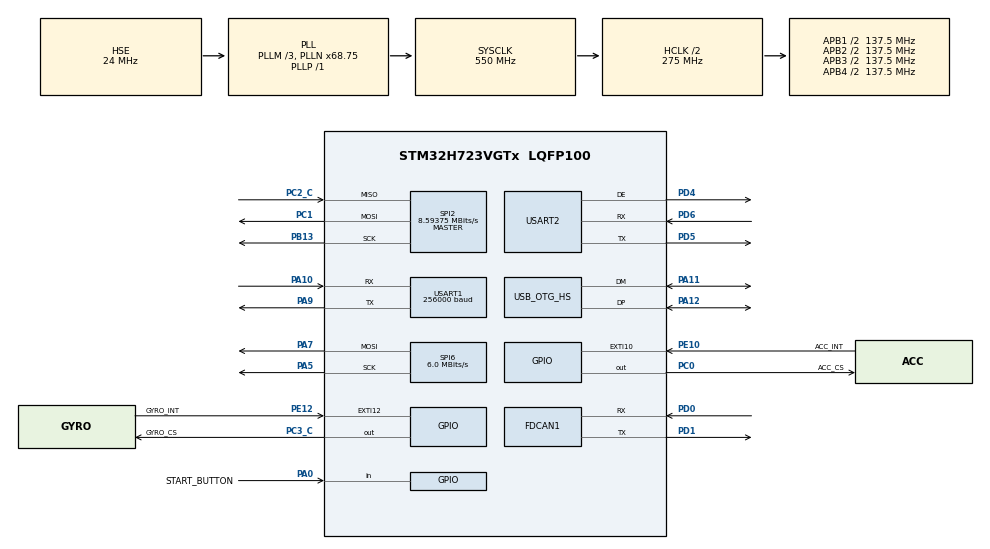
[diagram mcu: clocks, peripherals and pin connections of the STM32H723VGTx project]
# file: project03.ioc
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Dma.Request0=SPI2_RX
Dma.Request1=SPI2_TX
Dma.SPI2_RX.0.Direction=DMA_PERIPH_TO_MEMORY
Dma.SPI2_RX.0.EventEnable=DISABLE
Dma.SPI2_RX.0.FIFOMode=DMA_FIFOMODE_DISABLE
Dma.SPI2_RX.0.Instance=DMA1_Stream0
Dma.SPI2_RX.0.MemDataAlignment=DMA_MDATAALIGN_BYTE
Dma.SPI2_RX.0.MemInc=DMA_MINC_ENABLE
Dma.SPI2_RX.0.Mode=DMA_NORMAL
Dma.SPI2_RX.0.PeriphDataAlignment=DMA_PDATAALIGN_BYTE
Dma.SPI2_RX.0.PeriphInc=DMA_PINC_DISABLE
Dma.SPI2_RX.0.Polarity=HAL_DMAMUX_REQ_GEN_RISING
Dma.SPI2_RX.0.Priority=DMA_PRIORITY_VERY_HIGH
Dma.SPI2_RX.0.RequestNumber=1
Dma.SPI2_RX.0.SignalID=NONE
Dma.SPI2_RX.0.SyncEnable=DISABLE
Dma.SPI2_RX.0.SyncPolarity=HAL_DMAMUX_SYNC_NO_EVENT
Dma.SPI2_RX.0.SyncRequestNumber=1
Dma.SPI2_RX.0.SyncSignalID=NONE
Dma.SPI2_TX.1.Direction=DMA_MEMORY_TO_PERIPH
Dma.SPI2_TX.1.EventEnable=DISABLE
Dma.SPI2_TX.1.FIFOMode=DMA_FIFOMODE_DISABLE
Dma.SPI2_TX.1.Instance=DMA1_Stream1
Dma.SPI2_TX.1.MemDataAlignment=DMA_MDATAALIGN_BYTE
Dma.SPI2_TX.1.MemInc=DMA_MINC_ENABLE
Dma.SPI2_TX.1.Mode=DMA_NORMAL
Dma.SPI2_TX.1.PeriphDataAlignment=DMA_PDATAALIGN_BYTE
Dma.SPI2_TX.1.PeriphInc=DMA_PINC_DISABLE
Dma.SPI2_TX.1.Polarity=HAL_DMAMUX_REQ_GEN_RISING
Dma.SPI2_TX.1.Priority=DMA_PRIORITY_HIGH
Dma.SPI2_TX.1.RequestNumber=1
Dma.SPI2_TX.1.SignalID=NONE
Dma.SPI2_TX.1.SyncEnable=DISABLE
Dma.SPI2_TX.1.SyncPolarity=HAL_DMAMUX_SYNC_NO_EVENT
Dma.SPI2_TX.1.SyncRequestNumber=1
Dma.SPI2_TX.1.SyncSignalID=NONE
FDCAN1.CalculateBaudRateNominal=1000000
FDCAN1.CalculateTimeBitNominal=1000
FDCAN1.CalculateTimeQuantumNominal=40.0
FDCAN1.DataPrescaler=4
FDCAN1.DataSyncJumpWidth=8
FDCAN1.DataTimeSeg1=16
FDCAN1.DataTimeSeg2=8
FDCAN1.NominalPrescaler=4
FDCAN1.NominalSyncJumpWidth=8
FDCAN1.NominalTimeSeg1=16
FDCAN1.NominalTimeSeg2=8
FDCAN1.ProtocolException=ENABLE
FDCAN1.RxFifo0ElmtsNbr=32
FDCAN1.StdFiltersNbr=1
FDCAN1.TxFifoQueueElmtsNbr=32
FREERTOS.INCLUDE_vTaskDelayUntil=1
FREERTOS.Tasks01=defaultTask,0,128,StartDefaultTask,Default,NULL,Dynamic,NULL,NULL
FREERTOS.configTOTAL_HEAP_SIZE=30720
Mcu.Family=STM32H7
Mcu.Name=STM32H723VGTx
Mcu.Package=LQFP100
NVIC.DMA1_Stream0_IRQn=true\:5\:0\:true\:false\:true\:true\:false\:true\:true
NVIC.DMA1_Stream1_IRQn=true\:6\:0\:true\:false\:true\:true\:false\:true\:true
NVIC.FDCAN1_IT0_IRQn=true\:5\:0\:false\:false\:true\:true\:true\:true\:true
NVIC.FDCAN1_IT1_IRQn=true\:5\:0\:false\:false\:true\:true\:true\:true\:true
NVIC.OTG_HS_IRQn=true\:5\:0\:true\:false\:true\:true\:true\:true\:true
NVIC.PriorityGroup=NVIC_PRIORITYGROUP_4
NVIC.SPI2_IRQn=true\:5\:0\:true\:false\:true\:true\:false\:true\:true
NVIC.TIM17_IRQn=true\:15\:0\:false\:false\:true\:false\:false\:true\:true
NVIC.TimeBase=TIM17_IRQn
NVIC.TimeBaseIP=TIM17
NVIC.USART1_IRQn=true\:5\:0\:true\:false\:true\:true\:true\:true\:true
NVIC.USART2_IRQn=true\:5\:0\:false\:false\:true\:true\:true\:true\:true
PA0.GPIO_Label=START_BUTTON
PA0.GPIO_PuPd=GPIO_PULLUP
PA0.Signal=GPIO_Input
PA10.GPIO_Speed=GPIO_SPEED_FREQ_VERY_HIGH
PA10.Mode=Asynchronous
PA10.Signal=USART1_RX
PA11.Mode=Device_Only_FS
PA11.Signal=USB_OTG_HS_DM
PA12.Mode=Device_Only_FS
PA12.Signal=USB_OTG_HS_DP
PA13(JTMS/SWDIO).Mode=Serial_Wire
PA13(JTMS/SWDIO).Signal=DEBUG_JTMS-SWDIO
PA14(JTCK/SWCLK).Mode=Serial_Wire
PA14(JTCK/SWCLK).Signal=DEBUG_JTCK-SWCLK
PA5.GPIO_Speed=GPIO_SPEED_FREQ_VERY_HIGH
PA5.Mode=TX_Only_Simplex_Unidirect_Master
PA5.Signal=SPI6_SCK
PA7.GPIO_Speed=GPIO_SPEED_FREQ_VERY_HIGH
PA7.Mode=TX_Only_Simplex_Unidirect_Master
PA7.Signal=SPI6_MOSI
PA9.GPIO_Speed=GPIO_SPEED_FREQ_VERY_HIGH
PA9.Mode=Asynchronous
PA9.Signal=USART1_TX
PB13.GPIO_Speed=GPIO_SPEED_FREQ_VERY_HIGH
PB13.Mode=Full_Duplex_Master
PB13.Signal=SPI2_SCK
PC0.GPIO_Label=ACC_CS
PC0.GPIO_Speed=GPIO_SPEED_FREQ_VERY_HIGH
PC0.Signal=GPIO_Output
PC1.GPIO_Speed=GPIO_SPEED_FREQ_VERY_HIGH
PC1.Mode=Full_Duplex_Master
PC1.Signal=SPI2_MOSI
PC2_C.GPIO_Speed=GPIO_SPEED_FREQ_VERY_HIGH
PC2_C.Mode=Full_Duplex_Master
PC2_C.Signal=SPI2_MISO
PC3_C.GPIO_Label=GYRO_CS
PC3_C.GPIO_Speed=GPIO_SPEED_FREQ_VERY_HIGH
PC3_C.Signal=GPIO_Output
PD0.Mode=FDCAN_Activate
PD0.Signal=FDCAN1_RX
PD1.Mode=FDCAN_Activate
PD1.Signal=FDCAN1_TX
PD4.Mode=Hardware Flow Control (RS485)
PD4.Signal=USART2_DE
PD5.Mode=Asynchronous
PD5.Signal=USART2_TX
PD6.Mode=Asynchronous
PD6.Signal=USART2_RX
PE10.GPIO_Label=ACC_INT
PE10.Signal=GPXTI10
PE12.GPIO_Label=GYRO_INT
PE12.Signal=GPXTI12
PH0-OSC_IN.Mode=HSE-External-Oscillator
PH0-OSC_IN.Signal=RCC_OSC_IN
PH1-OSC_OUT.Mode=HSE-External-Oscillator
PH1-OSC_OUT.Signal=RCC_OSC_OUT
ProjectManager.HeapSize=0x3000
ProjectManager.StackSize=0x1000
ProjectManager.TargetToolchain=MDK-ARM V5.32
RCC.ADCFreq_Value=100000000
RCC.APB1Freq_Value=137500000
RCC.APB2Freq_Value=137500000
RCC.APB3Freq_Value=137500000
RCC.APB4Freq_Value=137500000
RCC.CortexFreq_Value=550000000
RCC.D1PPRE=RCC_APB3_DIV2
RCC.D2PPRE1=RCC_APB1_DIV2
RCC.D2PPRE2=RCC_APB2_DIV2
RCC.D3PPRE=RCC_APB4_DIV2
RCC.DIVM1=3
RCC.DIVM2=6
RCC.DIVN1=68
RCC.DIVN2=50
RCC.DIVP1=1
RCC.DIVQ1=4
RCC.FDCANCLockSelection=RCC_FDCANCLKSOURCE_PLL2
RCC.HCLKFreq_Value=275000000
RCC.HPRE=RCC_HCLK_DIV2
RCC.HSE_VALUE=24000000
RCC.PLL2FRACN=0
RCC.PLL3FRACN=0
RCC.PLLFRACN=6144
RCC.PLLSourceVirtual=RCC_PLLSOURCE_HSE
RCC.SPI6CLockSelection=RCC_SPI6CLKSOURCE_HSE
RCC.SYSCLKFreq_VALUE=550000000
RCC.SYSCLKSource=RCC_SYSCLKSOURCE_PLLCLK
RCC.USBCLockSelection=RCC_USBCLKSOURCE_HSI48
RCC.USBFreq_Value=48000000
SPI2.BaudRatePrescaler=SPI_BAUDRATEPRESCALER_16
SPI2.CLKPhase=SPI_PHASE_2EDGE
SPI2.CLKPolarity=SPI_POLARITY_HIGH
SPI2.CalculateBaudRate=8.59375 MBits/s
SPI2.DataSize=SPI_DATASIZE_8BIT
SPI2.Direction=SPI_DIRECTION_2LINES
SPI2.Mode=SPI_MODE_MASTER
SPI2.VirtualType=VM_MASTER
SPI6.BaudRatePrescaler=SPI_BAUDRATEPRESCALER_4
SPI6.CLKPhase=SPI_PHASE_2EDGE
SPI6.CLKPolarity=SPI_POLARITY_LOW
SPI6.CalculateBaudRate=6.0 MBits/s
SPI6.DataSize=SPI_DATASIZE_8BIT
SPI6.Direction=SPI_DIRECTION_2LINES_TXONLY
SPI6.Mode=SPI_MODE_MASTER
SPI6.VirtualType=VM_MASTER
TIM23.Channel-PWM\ Generation1\ No\ Output=TIM_CHANNEL_1
TIM23.Prescaler=275-1
USART1.BaudRate=256000
USART1.VirtualMode-Asynchronous=VM_ASYNC
USART2.VirtualMode-Asynchronous=VM_ASYNC
USART2.VirtualMode-Hardware\ Flow\ Control\ (RS485)=VM_ASYNC
USB_DEVICE.CLASS_NAME_HS=CDC
USB_DEVICE.VirtualMode=Cdc
USB_DEVICE.VirtualModeHS=Cdc_HS
USB_OTG_HS.VirtualMode-Device_Only_FS=Device_Only_FS
VP_FREERTOS_VS_CMSIS_V1.Mode=CMSIS_V1
VP_MEMORYMAP_VS_MEMORYMAP.Mode=CurAppReg
VP_SYS_VS_tim17.Mode=TIM17
VP_TIM16_VS_ClockSourceINT.Mode=Enable_Timer
VP_TIM23_VS_no_output1.Mode=PWM Generation1 No Output
VP_USB_DEVICE_VS_USB_DEVICE_CDC_HS.Mode=CDC_HS
board=custom

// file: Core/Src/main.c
/* USER CODE BEGIN Header */
/**
  ******************************************************************************
  * @file           : main.c
  * @brief          : Main program body
  ******************************************************************************
  * @attention
  *
  * Copyright (c) 2024 STMicroelectronics.
  * All rights reserved.
  *
  * This software is licensed under terms that can be found in the LICENSE file
  * in the root directory of this software component.
  * If no LICENSE file comes with this software, it is provided AS-IS.
  *
  ******************************************************************************
  */
/* USER CODE END Header */
#include "main.h"
#include "cmsis_os.h"
#include "dma.h"
#include "fdcan.h"
#include "memorymap.h"
#include "spi.h"
#include "tim.h"
#include "usart.h"
#include "usb_device.h"
#include "gpio.h"

/* USER CODE BEGIN Includes */

#include "system.h"
#include "arm.h"

/* USER CODE END Includes */

void SystemClock_Config(void);
void MX_FREERTOS_Init(void);

int main(void)
{

  /* MCU Configuration--------------------------------------------------------*/

  /* Reset of all peripherals, Initializes the Flash interface and the Systick. */
  HAL_Init();

  /* Configure the system clock */
  SystemClock_Config();

  /* USER CODE BEGIN SysInit */
//	 MX_USB_DEVICE_Init();

//	MX_USB_DEVICE_Init();
  /* USER CODE END SysInit */

  /* Initialize all configured peripherals */
  MX_GPIO_Init();
  MX_DMA_Init();
  MX_SPI2_Init();
  MX_SPI6_Init();
  MX_USART1_UART_Init();
  MX_USART2_UART_Init();
  MX_FDCAN1_Init();
  MX_TIM16_Init();
  MX_TIM23_Init();
  /* USER CODE BEGIN 2 */

  MX_USB_DEVICE_Init();

  User_Hardware_Init();

	/*
	int lda = YZ_SDO_Read(&LD_motor, YZ_motor_acc);
	int lua = YZ_SDO_Read(&LU_motor, YZ_motor_acc);
	int rda = YZ_SDO_Read(&RD_motor, YZ_motor_acc);
	int rua = YZ_SDO_Read(&RU_motor, YZ_motor_acc);

	print("lda=%d, lua=%d, rda=%d, rua=%d", lda, lua, rda, rua);
	*/

	creat_task();

  /* USER CODE END 2 */

  /* Call init function for freertos objects (in cmsis_os2.c) */
  MX_FREERTOS_Init();

  /* Start scheduler */
  osKernelStart();

  /* We should never get here as control is now taken by the scheduler */

  /* Infinite loop */
  while (1)
  {

  }
}

void SystemClock_Config(void)
{
  RCC_OscInitTypeDef RCC_OscInitStruct = {0};
  RCC_ClkInitTypeDef RCC_ClkInitStruct = {0};

  /** Supply configuration update enable
  */
  HAL_PWREx_ConfigSupply(PWR_LDO_SUPPLY);

  /** Configure the main internal regulator output voltage
  */
  __HAL_PWR_VOLTAGESCALING_CONFIG(PWR_REGULATOR_VOLTAGE_SCALE0);

  while(!__HAL_PWR_GET_FLAG(PWR_FLAG_VOSRDY)) {}

  /** Initializes the RCC Oscillators according to the specified parameters
  * in the RCC_OscInitTypeDef structure.
  */
  RCC_OscInitStruct.OscillatorType = RCC_OSCILLATORTYPE_HSI48|RCC_OSCILLATORTYPE_HSE;
  RCC_OscInitStruct.HSEState = RCC_HSE_ON;
  RCC_OscInitStruct.HSI48State = RCC_HSI48_ON;
  RCC_OscInitStruct.PLL.PLLState = RCC_PLL_ON;
  RCC_OscInitStruct.PLL.PLLSource = RCC_PLLSOURCE_HSE;
  RCC_OscInitStruct.PLL.PLLM = 3;
  RCC_OscInitStruct.PLL.PLLN = 68;
  RCC_OscInitStruct.PLL.PLLP = 1;
  RCC_OscInitStruct.PLL.PLLQ = 4;
  RCC_OscInitStruct.PLL.PLLR = 2;
  RCC_OscInitStruct.PLL.PLLRGE = RCC_PLL1VCIRANGE_3;
  RCC_OscInitStruct.PLL.PLLVCOSEL = RCC_PLL1VCOWIDE;
  RCC_OscInitStruct.PLL.PLLFRACN = 6144;
  if (HAL_RCC_OscConfig(&RCC_OscInitStruct) != HAL_OK)
  {
    Error_Handler();
  }

  /** Initializes the CPU, AHB and APB buses clocks
  */
  RCC_ClkInitStruct.ClockType = RCC_CLOCKTYPE_HCLK|RCC_CLOCKTYPE_SYSCLK
                              |RCC_CLOCKTYPE_PCLK1|RCC_CLOCKTYPE_PCLK2
                              |RCC_CLOCKTYPE_D3PCLK1|RCC_CLOCKTYPE_D1PCLK1;
  RCC_ClkInitStruct.SYSCLKSource = RCC_SYSCLKSOURCE_PLLCLK;
  RCC_ClkInitStruct.SYSCLKDivider = RCC_SYSCLK_DIV1;
  RCC_ClkInitStruct.AHBCLKDivider = RCC_HCLK_DIV2;
  RCC_ClkInitStruct.APB3CLKDivider = RCC_APB3_DIV2;
  RCC_ClkInitStruct.APB1CLKDivider = RCC_APB1_DIV2;
  RCC_ClkInitStruct.APB2CLKDivider = RCC_APB2_DIV2;
  RCC_ClkInitStruct.APB4CLKDivider = RCC_APB4_DIV2;

  if (HAL_RCC_ClockConfig(&RCC_ClkInitStruct, FLASH_LATENCY_3) != HAL_OK)
  {
    Error_Handler();
  }
}

/* USER CODE BEGIN 4 */

void USB_Status_Init(void)
{
  GPIO_InitTypeDef GPIO_InitStruct = {0};
  /* GPIO Ports Clock Enable */
  __HAL_RCC_GPIOA_CLK_ENABLE();
  /*Configure GPIO pin Output Level */
  HAL_GPIO_WritePin(GPIOA, GPIO_PIN_11|GPIO_PIN_12, GPIO_PIN_RESET);
  /*Configure GPIO pin : PA12 */
  GPIO_InitStruct.Pin = GPIO_PIN_11|GPIO_PIN_12;
  GPIO_InitStruct.Mode = GPIO_MODE_OUTPUT_PP;
  GPIO_InitStruct.Pull = GPIO_NOPULL;
  GPIO_InitStruct.Speed = GPIO_SPEED_FREQ_LOW;
  HAL_GPIO_Init(GPIOA, &GPIO_InitStruct);
  HAL_Delay(10);
  HAL_GPIO_WritePin(GPIOA, GPIO_PIN_11|GPIO_PIN_12,
  GPIO_PIN_RESET);
  HAL_Delay(10);
  //??PA12?????,??D+??USB?????
  HAL_GPIO_WritePin(GPIOA,GPIO_PIN_11|GPIO_PIN_12,GPIO_PIN_SET);
  HAL_Delay(65);
}

/* USER CODE END 4 */

void HAL_TIM_PeriodElapsedCallback(TIM_HandleTypeDef *htim)
{
  if (htim->Instance == TIM17) {
    HAL_IncTick();
  }
}

void Error_Handler(void)
{
  __disable_irq();
  while (1)
  {
  }
}

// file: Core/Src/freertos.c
/* USER CODE BEGIN Header */
/**
  ******************************************************************************
  * File Name          : freertos.c
  * Description        : Code for freertos applications
  ******************************************************************************
  * @attention
  *
  * Copyright (c) 2024 STMicroelectronics.
  * All rights reserved.
  *
  * This software is licensed under terms that can be found in the LICENSE file
  * in the root directory of this software component.
  * If no LICENSE file comes with this software, it is provided AS-IS.
  *
  ******************************************************************************
  */
/* USER CODE END Header */

#include "FreeRTOS.h"
#include "task.h"
#include "main.h"
#include "cmsis_os.h"

osThreadId defaultTaskHandle;

void StartDefaultTask(void const * argument);

extern void MX_USB_DEVICE_Init(void);
void MX_FREERTOS_Init(void); /* (MISRA C 2004 rule 8.1) */

/* GetIdleTaskMemory prototype (linked to static allocation support) */
void vApplicationGetIdleTaskMemory( StaticTask_t **ppxIdleTaskTCBBuffer, StackType_t **ppxIdleTaskStackBuffer, uint32_t *pulIdleTaskStackSize );

/* USER CODE BEGIN GET_IDLE_TASK_MEMORY */
static StaticTask_t xIdleTaskTCBBuffer;
static StackType_t xIdleStack[configMINIMAL_STACK_SIZE];

void vApplicationGetIdleTaskMemory( StaticTask_t **ppxIdleTaskTCBBuffer, StackType_t **ppxIdleTaskStackBuffer, uint32_t *pulIdleTaskStackSize )
{
  *ppxIdleTaskTCBBuffer = &xIdleTaskTCBBuffer;
  *ppxIdleTaskStackBuffer = &xIdleStack[0];
  *pulIdleTaskStackSize = configMINIMAL_STACK_SIZE;
  /* place for user code */
}
/* USER CODE END GET_IDLE_TASK_MEMORY */

void MX_FREERTOS_Init(void) {

  /* Create the thread(s) */
  /* definition and creation of defaultTask */
  osThreadDef(defaultTask, StartDefaultTask, osPriorityNormal, 0, 128);
  defaultTaskHandle = osThreadCreate(osThread(defaultTask), NULL);

}

void StartDefaultTask(void const * argument)
{
  /* init code for USB_DEVICE */
  MX_USB_DEVICE_Init();
  for(;;)
  {
    osDelay(1);
  }
}
